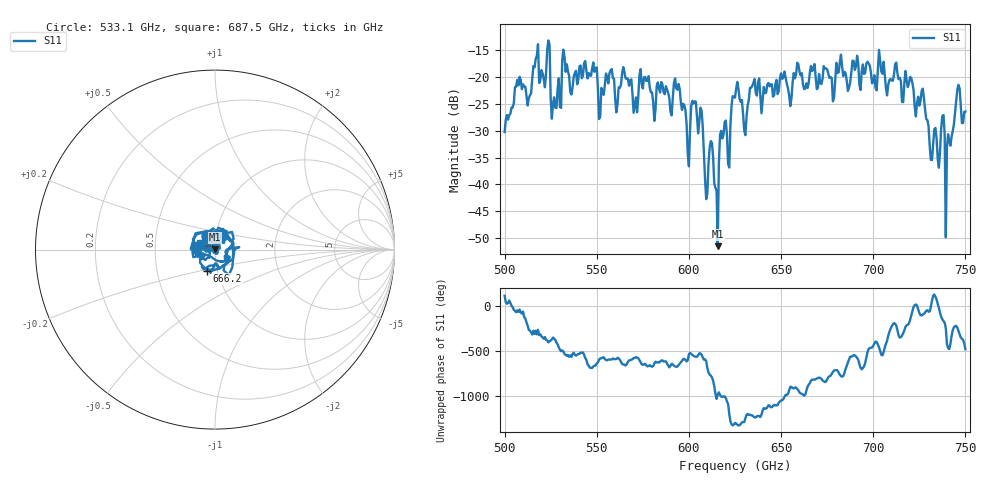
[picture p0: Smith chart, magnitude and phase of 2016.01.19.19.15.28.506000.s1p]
!Created with skrf (http://scikit-rf.org).
# GHz S RI R 50.0
!freq ReS11 ImS11
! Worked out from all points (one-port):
!   401 points, 500 GHz to 750 GHz, reference 50 ohm
!   lowest |S11| = -51.5 dB at 615.6 GHz (marker M1), VSWR 1.01, Z = 50 + j0.264 ohm
!   |S11| at or under -10 dB: start of sweep to end of sweep
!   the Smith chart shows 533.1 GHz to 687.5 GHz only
!   S11 on the Smith chart (normalised r, x): 533.1 GHz: 0.80, +0.02; 666.2 GHz: 0.89, -0.22; 687.5 GHz: 0.85, +0.06
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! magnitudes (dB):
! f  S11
! 500 GHz  -30.3
! 507.5 GHz  -21.6
! 513.1 GHz  -24.0
! 516.9 GHz  -16.6
! 523.8 GHz  -13.2
! 526.9 GHz  -23.8
! 531.2 GHz  -16.9
! 533.1 GHz  -19.0
! 562.5 GHz  -22.0
! 593.8 GHz  -22.4
! 599.4 GHz  -34.3
! 602.5 GHz  -24.9
! 606.9 GHz  -26.2
! 609.4 GHz  -42.8
! 611.9 GHz  -31.9
! 615.6 GHz  -51.5
! 618.1 GHz  -31.4
! 621.9 GHz  -36.9
! 625 GHz  -23.8
! 630.6 GHz  -30.8
! 634.4 GHz  -21.6
! 656.2 GHz  -21.0
! 666.2 GHz  -17.9
! 687.5 GHz  -21.0
! 718.8 GHz  -21.9
! 740.6 GHz  -30.7
! 745.6 GHz  -22.3
! 750 GHz  -26.4
